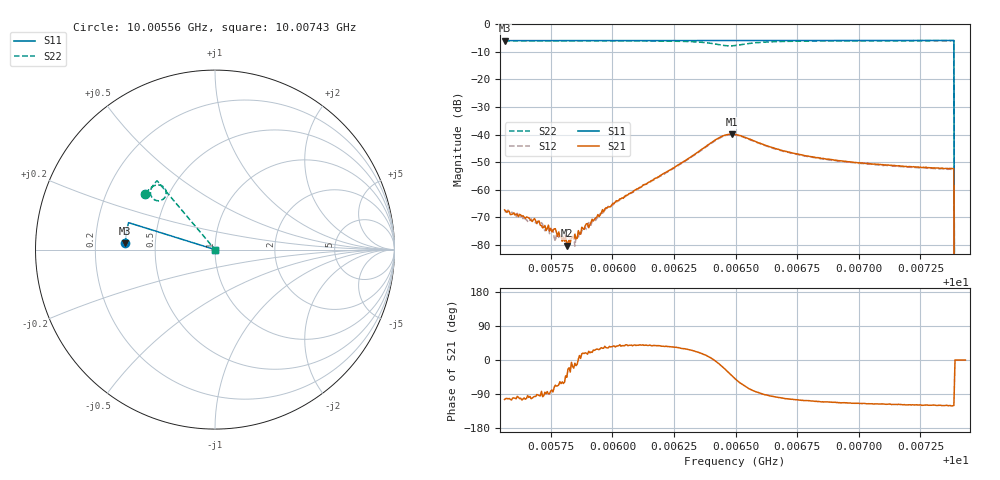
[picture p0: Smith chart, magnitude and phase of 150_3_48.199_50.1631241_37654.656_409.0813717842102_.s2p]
#  HZ  S  RI  R  50.00
! Rohde & Schwarz Vector Network Analyzer
! Rohde-Schwarz,ZNB20-2Port,1311601062101988,3.16
! Created: UTC 3/20/2024, 11:42:47 AM
! freq[Hz]  re:S11  im:S11  re:S21  im:S21  re:S12  im:S12  re:S22  im:S22
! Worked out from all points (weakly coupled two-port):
!   401 points, 10.00556 GHz to 10.00743 GHz, reference 50 ohm
!   highest |S21| = -39.87 dB at 10.00648 GHz (marker M1); lowest = -80.3 dB at 10.00581 GHz (marker M2)
!   lowest |S11| = -6.0 dB at 10.00556 GHz (marker M3), VSWR 3.01, Z = 16.7 + j1.51 ohm
!   |S11| at or under -10 dB: 10.00739 GHz to end of sweep
!   |S22| runs from - to -6.0 dB; largest |S21 - S12| = 0.00062
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1.0005563e10  -0.4996 0.0341  -0.000106 -0.000418  -6.61e-05 -0.000398  -0.3873 0.3112
1.0005586e10  -0.4996 0.0356  -8.53e-05 -0.000344  -5.29e-05 -0.000399  -0.3863 0.3127
1.0005656e10  -0.4994 0.0402  -2.22e-05 -0.000316  -1.23e-05 -0.000268  -0.3831 0.3169
1.0005693e10  -0.4992 0.0427  -5.12e-06 -0.000244  -1.24e-05 -0.000259  -0.3813 0.3191
1.0005707e10  -0.499 0.0436  -1.77e-05 -0.000226  -2.1e-07 -0.000241  -0.3807 0.32
1.0005721e10  -0.4991 0.0445  -1.48e-05 -0.000208  7.04e-06 -0.000197  -0.38 0.3208
1.000575e10  -0.499 0.0463  2.74e-05 -0.000199  4.56e-05 -0.000165  -0.3784 0.3225
1.0005773e10  -0.4988 0.0478  6.13e-05 -0.000159  6.78e-05 -0.000136  -0.3772 0.324
1.0005815e10  -0.4987 0.0506  6.77e-05 -6.9e-05  9.72e-05 -7.92e-05  -0.375 0.3267
1.0005852e10  -0.4985 0.0528  0.000125 -3.34e-05  0.000135 -3.01e-05  -0.3728 0.3291
1.0005876e10  -0.4984 0.0544  0.000201 5.91e-05  0.000171 4.61e-05  -0.3714 0.3305
1.0005969e10  -0.4978 0.0606  0.000364 0.000267  0.000317 0.000282  -0.3656 0.3369
1.0006189e10  -0.4963 0.0748  0.00136 0.00106  0.00131 0.00108  -0.3449 0.3531
1.0006427e10  -0.4934 0.09  0.00838 -0.00107  0.00823 -0.000674  -0.2734 0.3284
1.0006483e10  -0.4929 0.0929  0.00767 -0.00665  0.00787 -0.00609  -0.29 0.2799
1.0006497e10  -0.4928 0.0938  0.00654 -0.00761  0.00681 -0.00706  -0.3022 0.2738
1.0006675e10  -0.4916 0.1051  -0.00084 -0.00531  -0.000565 -0.00521  -0.3598 0.321
1.0006811e10  -0.4902 0.1138  -0.00124 -0.00375  -0.00106 -0.00373  -0.354 0.3427
1.0007124e10  -0.4858 0.1336  -0.00123 -0.00249  -0.0011 -0.00246  -0.3365 0.3688
1.0007376e10  -0.4817 0.1495  -0.00125 -0.00206  -0.00111 -0.00204  -0.3231 0.3831
1.00074e10  0 0  0 0  0 0  0 0
1.0007432e10  0 0  0 0  0 0  0 0
